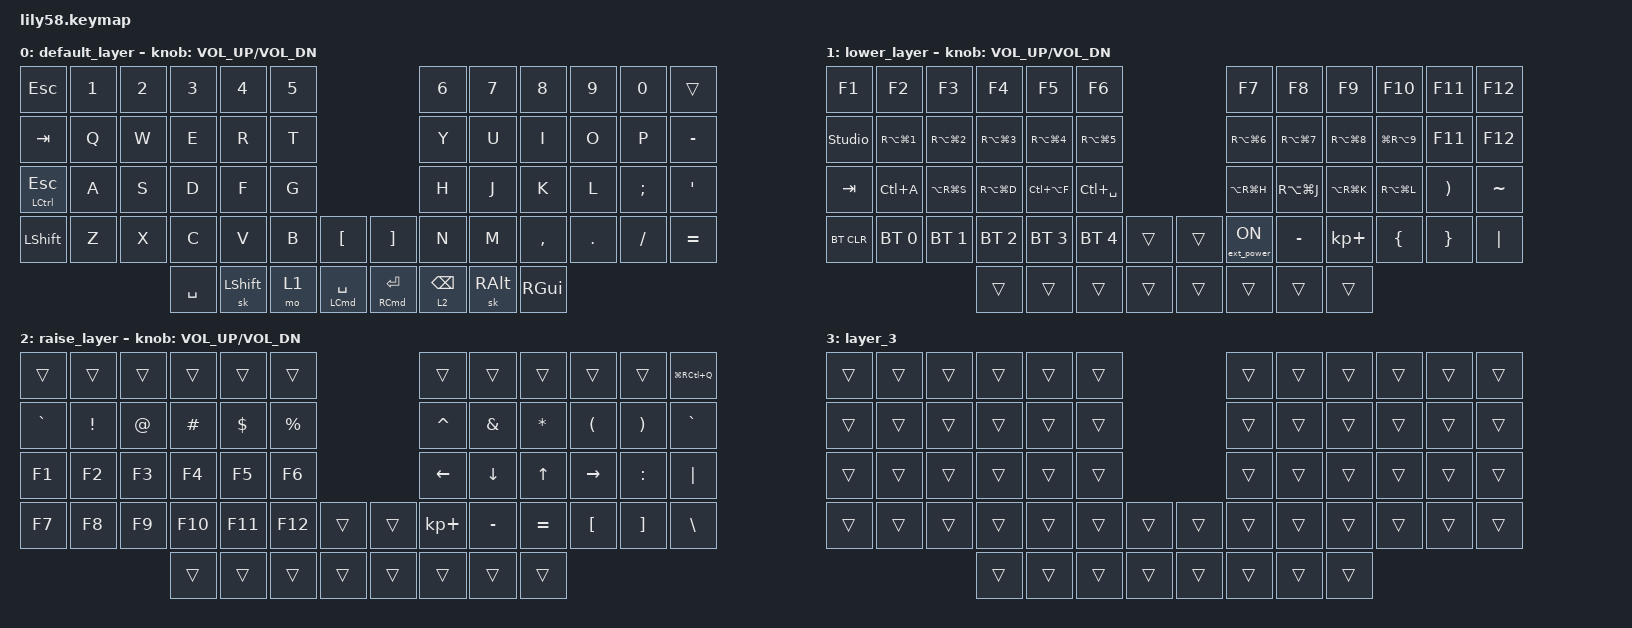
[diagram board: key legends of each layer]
/*
 * Copyright (c) 2020 The ZMK Contributors
 *
 * SPDX-License-Identifier: MIT
 */

#include <behaviors.dtsi>
#include <dt-bindings/zmk/bt.h>
#include <dt-bindings/zmk/ext_power.h>
#include <dt-bindings/zmk/keys.h>

/ {
    keymap {
        compatible = "zmk,keymap";

        default_layer {
            // ------------------------------------------------------------------------------------------------------------
            // |  ESC  |  1  |  2  |  3   |  4   |  5   |                   |  6   |  7    |  8    |  9   |   0   |   `   |
            // |  TAB  |  Q  |  W  |  E   |  R   |  T   |                   |  Y   |  U    |  I    |  O   |   P   |   -   |
            // |  CTRL |  A  |  S  |  D   |  F   |  G   |                   |  H   |  J    |  K    |  L   |   ;   |   '   |
            // | SHIFT |  Z  |  X  |  C   |  V   |  B   |   "["  |  |  "]"  |  N   |  M    |  ,    |  .   |   /   | SHIFT |
            //                     | ALT  | GUI  | LOWER|  SPACE |  | ENTER | RAISE| BSPC  | GUI   |

            bindings = <
&kp ESC         &kp N1  &kp N2  &kp N3     &kp N4          &kp N5                                                     &kp N6           &kp N7         &kp N8     &kp N9   &kp N0         &trans
&kp TAB         &kp Q   &kp W   &kp E      &kp R           &kp T                                                      &kp Y            &kp U          &kp I      &kp O    &kp P          &kp MINUS
&mt LCTRL ESC   &kp A   &kp S   &kp D      &kp F           &kp G                                                      &kp H            &kp J          &kp K      &kp L    &kp SEMICOLON  &kp SINGLE_QUOTE
&kp LEFT_SHIFT  &kp Z   &kp X   &kp C      &kp V           &kp B   &kp LBKT                  &kp RBKT                 &kp N            &kp M          &kp COMMA  &kp DOT  &kp FSLH       &kp EQUAL
                                &kp SPACE  &sk LEFT_SHIFT  &mo 1   &mt LEFT_COMMAND SPACE    &mt RIGHT_COMMAND ENTER  &lt 2 BACKSPACE  &sk RIGHT_ALT  &kp RGUI
            >;

            sensor-bindings = <&inc_dec_kp C_VOL_UP C_VOL_DN>;
        };

        lower_layer {
            // ------------------------------------------------------------------------------------------------------------
            // | BTCLR | BT1 | BT2 |  BT3 |  BT4 |  BT5 |                   |      |       |       |      |       |       |
            // |  F1   |  F2 |  F3 |  F4  |  F5  |  F6  |                   |  F7  |  F8   |  F9   |  F10 |  F11  |  F12  |
            // |   `   |  !  |  @  |  #   |  $   |  %   |                   |  ^   |  &    |  *    |  (   |   )   |   ~   |
            // |       |     |     |      |      |      |        |  |       |      |  _    |  +    |  {   |   }   |  "|"  |
            //                     |      |      |      |        |  |       |      |       |       |

            bindings = <
&kp F1              &kp F2                &kp F3                &kp F4                &kp F5                &kp F6                            &kp F7                &kp F8          &kp F9          &kp F10         &kp F11   &kp F12
&studio_unlock      &kp RA(LG(NUMBER_1))  &kp RA(LG(NUMBER_2))  &kp RA(LG(NUMBER_3))  &kp RA(LG(NUMBER_4))  &kp RA(LG(N5))                    &kp RA(LG(NUMBER_6))  &kp RA(LG(N7))  &kp RA(LG(N8))  &kp LG(RA(N9))  &kp F11   &kp F12
&kp TAB             &kp LC(A)             &kp LA(RG(S))         &kp RA(LG(D))         &kp LC(LA(F))         &kp LC(SPACE)                     &kp LA(RG(H))         &kp RA(LG(J))   &kp LA(RG(K))   &kp RA(LG(L))   &kp RPAR  &kp TILDE
&bt BT_CLR          &bt BT_SEL 0          &bt BT_SEL 1          &bt BT_SEL 2          &bt BT_SEL 3          &bt BT_SEL 4    &trans    &trans  &ext_power EP_ON      &kp MINUS       &kp KP_PLUS     &kp LBRC        &kp RBRC  &kp PIPE
                                                        &trans                &trans                &trans          &trans    &trans  &trans                &trans          &trans
            >;

            sensor-bindings = <&inc_dec_kp C_VOL_UP C_VOL_DN>;
        };

        raise_layer {
            // ------------------------------------------------------------------------------------------------------------
            // |       |     |     |      |      |      |                   |      |       |       |      |       |       |
            // |   `   |  1  |  2  |  3   |  4   |  5   |                   |  6   |   7   |   8   |  9   |   0   |       |
            // |   F1  |  F2 |  F3 |  F4  |  F5  |  F6  |                   |      |   <-  |   v   |  ^   |  ->   |       |
            // |   F7  |  F8 |  F9 |  F10 |  F11 |  F12 |        |  |       |  +   |   -   |   =   |  [   |   ]   |   \   |
            //                     |      |      |      |        |  |       |      |       |       |

            bindings = <
&trans     &trans    &trans  &trans    &trans      &trans                         &trans       &trans     &trans     &trans     &trans     &kp LG(RC(Q))
&kp GRAVE  &kp EXCL  &kp AT  &kp HASH  &kp DOLLAR  &kp PERCENT                    &kp CARET    &kp AMPS   &kp STAR   &kp LPAR   &kp RPAR   &kp GRAVE
&kp F1     &kp F2    &kp F3  &kp F4    &kp F5      &kp F6                         &kp LEFT     &kp DOWN   &kp UP     &kp RIGHT  &kp COLON  &kp PIPE
&kp F7     &kp F8    &kp F9  &kp F10   &kp F11     &kp F12      &trans    &trans  &kp KP_PLUS  &kp MINUS  &kp EQUAL  &kp LBKT   &kp RBKT   &kp BSLH
                             &trans    &trans      &trans       &trans    &trans  &trans       &trans     &trans
            >;

            sensor-bindings = <&inc_dec_kp C_VOL_UP C_VOL_DN>;
        };

        layer_3 {
            bindings = <
&trans  &trans  &trans  &trans  &trans  &trans                    &trans  &trans  &trans  &trans  &trans  &trans
&trans  &trans  &trans  &trans  &trans  &trans                    &trans  &trans  &trans  &trans  &trans  &trans
&trans  &trans  &trans  &trans  &trans  &trans                    &trans  &trans  &trans  &trans  &trans  &trans
&trans  &trans  &trans  &trans  &trans  &trans  &trans    &trans  &trans  &trans  &trans  &trans  &trans  &trans
                        &trans  &trans  &trans  &trans    &trans  &trans  &trans  &trans
            >;
        };
    };
};
